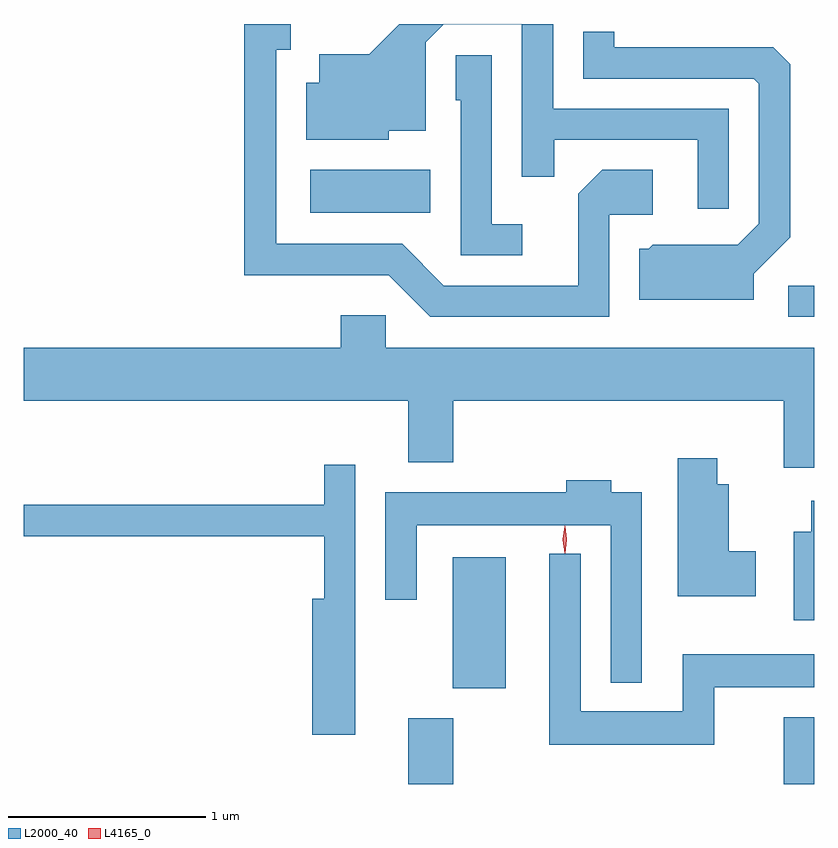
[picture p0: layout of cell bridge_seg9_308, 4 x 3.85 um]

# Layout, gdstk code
import gdstk
lib = gdstk.Library(unit=1e-6, precision=1e-09)
def R(c, l, rs):  # rectangles x0, y0, x1, y1
    for r in rs: c.add(gdstk.rectangle(r[:2], r[2:], *l))
def P(c, l, *ps):  # polygons
    for p in ps: c.add(gdstk.Polygon(p, *l))
L2000_40 = (2000, 40)
L4165_0 = (4165, 0)

bridge_seg9_308 = lib.new_cell('bridge_seg9_308')
R(bridge_seg9_308, L2000_40, [(999.811,2078.677,1000.039,2079.009), (1001.711,2078.677,1001.866,2079.014), (1000.036,2079.161,1000.304,2079.824), (1001.733,2081.041,1001.866,2081.199), (999.316,2081.566,999.924,2081.784), (1001.733,2082.521,1001.866,2082.522)])
P(bridge_seg9_308, L2000_40, [(1000.829,2081.556),(1001.049,2081.556),(1001.049,2081.784),(1000.794,2081.784),(1000.671,2081.662),(1000.671,2081.199),(999.992,2081.199),(999.782,2081.409),(999.144,2081.409),(999.144,2082.391),(999.218,2082.391),(999.218,2082.522),(998.981,2082.522),(998.981,2081.251),(999.714,2081.251),(999.924,2081.041),(1000.829,2081.041)],
  [(1001.434,2082.094),(1000.544,2082.094),(1000.544,2082.522),(999.767,2082.522),(999.614,2082.369),(999.361,2082.369),(999.361,2082.224),(999.296,2082.224),(999.296,2081.936),(999.714,2081.936),(999.714,2081.981),(999.899,2081.981),(999.899,2082.429),(999.992,2082.521),(1000.386,2082.521),(1000.386,2081.748),(1000.549,2081.748),(1000.549,2081.936),(1001.276,2081.936),(1001.276,2081.588),(1001.434,2081.588)],
  [(1001.559,2081.259),(1001.744,2081.443),(1001.744,2082.318),(1001.659,2082.404),(1000.854,2082.404),(1000.854,2082.483),(1000.696,2082.483),(1000.696,2082.246),(1001.559,2082.246),(1001.586,2082.219),(1001.586,2081.512),(1001.479,2081.404),(1001.049,2081.404),(1001.029,2081.384),(1000.981,2081.384),(1000.981,2081.126),(1001.559,2081.126)],
  [(1000.388,2081.509),(1000.234,2081.509),(1000.234,2082.364),(1000.051,2082.364),(1000.051,2082.136),(1000.076,2082.136),(1000.076,2081.351),(1000.388,2081.351)],
  [(1001.866,2080.884),(999.699,2080.884),(999.699,2081.049),(999.471,2081.049),(999.471,2080.884),(997.866,2080.884),(997.866,2080.616),(999.811,2080.616),(999.811,2080.306),(1000.039,2080.306),(1000.039,2080.616),(1001.711,2080.616),(1001.711,2080.276),(1001.866,2080.276)],
  [(1001.569,2079.854),(1001.434,2079.854),(1001.434,2080.194),(1001.374,2080.194),(1001.374,2080.324),(1001.176,2080.324),(1001.176,2079.626),(1001.569,2079.626)],
  [(999.544,2080.293),(999.386,2080.293),(999.386,2080.089),(997.866,2080.089),(997.866,2079.931),(999.386,2079.931),(999.386,2079.614),(999.326,2079.614),(999.326,2078.926),(999.544,2078.926)],
  [(1000.994,2080.154),(1000.839,2080.154),(1000.839,2080.214),(1000.611,2080.214),(1000.611,2080.154),(999.696,2080.154),(999.696,2079.608),(999.854,2079.608),(999.854,2079.986),(1000.836,2079.986),(1000.836,2079.188),(1000.994,2079.188)],
  [(1001.866,2080.109),(1001.851,2080.109),(1001.851,2079.954),(1001.761,2079.954),(1001.761,2079.506),(1001.866,2079.506)],
  [(1001.359,2079.166),(1001.866,2079.166),(1001.866,2079.334),(1001.201,2079.334),(1001.201,2079.044),(1000.684,2079.044),(1000.684,2079.843),(1000.526,2079.843),(1000.526,2078.876),(1001.359,2078.876)])
P(bridge_seg9_308, L4165_0, [(1000.604,2079.844),(1000.604,2079.844),(1000.594,2079.913),(1000.604,2079.982),(1000.604,2079.983),(1000.605,2079.982),(1000.614,2079.913),(1000.605,2079.844)],
  [(1000.604,2079.847),(1000.604,2079.847),(1000.594,2079.914),(1000.604,2079.98),(1000.604,2079.98),(1000.605,2079.98),(1000.614,2079.914),(1000.605,2079.847)])

lib.write_gds('bridge_seg9_308.gds')
